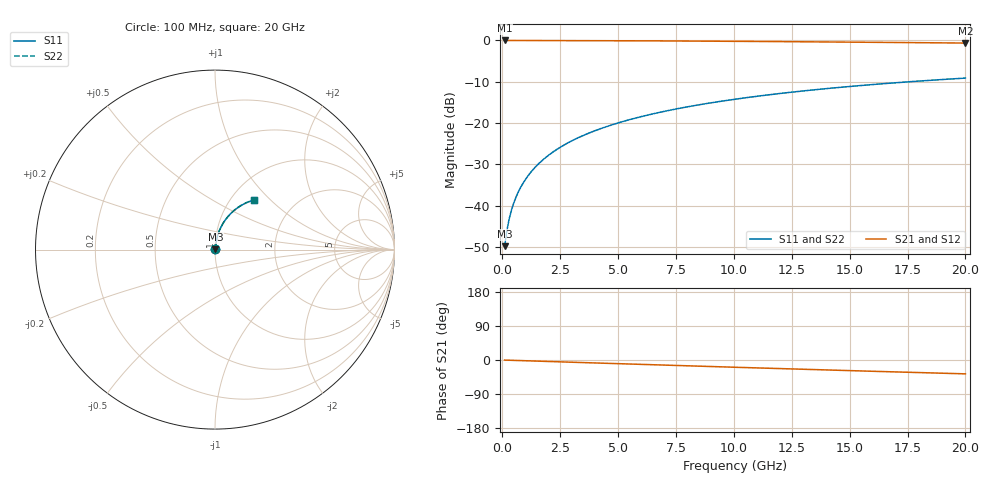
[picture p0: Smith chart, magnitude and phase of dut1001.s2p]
! Touchstone file exported from HFSS 2026.1.0
!  File:  C:/ffzhzh/LocalFiles/Ansys_Project_Files/temp_train_BSMRDL_1001_1783173089_55132.aedt
!  Generated:  09:52:42 PM Jul  4, 2026
!  Design:  BSMRDL
!  Project:  temp_train_BSMRDL_1001_1783173089_55132
! Variables:
!  h_bsmrdl = 3.44um
!  h_ox = 20um
!  h_rdl = 5um
!  h_sub = 80um
!  h_tmrdl = 5um
!  h_tsv = 80um
!  h_via = 3um
!  l_bsmrdl = 507.14um
!  l_sub = 907.14um
!  l_tmrdl = 200um
!  m_sub = 200um
!  pitch = 53.93um
!  r_tsv = 6um
!  s_tmrdl = 10um
!  w_bsmrdl = 24.31um
!  w_sub = 500um
!  w_tmrdl = 12um
!  x_tsv_center1 = 206um
!  x_tsv_center2 = 737.45um
!  x_tsv_center3 = 949.45um
!  x_tsv_center4 = 1480.9um
!  x_tsv_center5 = 1692.9um
!  x_tsv_center6 = 2224.35um
# GHz S MA R 50.000000
! Terminal data exported
! Port[1] = BSM_RDL1_1_T1
! Port[2] = BSM_RDL1_1_T2
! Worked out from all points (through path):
!   200 points, 100 MHz to 20 GHz, reference 50 ohm
!   highest |S21| = -0.02 dB at 100 MHz (marker M1); lowest = -0.7 dB at 20 GHz (marker M2)
!   group delay of S21, straight-line fit = 5.08 ps
!   lowest |S11| = -49.7 dB at 100 MHz (marker M3), VSWR 1.01, Z = 50.2 + j0.223 ohm
!   |S11| at or under -10 dB: start of sweep to 17.58 GHz
!   |S22| runs from -49.7 to -9.1 dB; largest |S21 - S12| = 2.1e-15
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0.1  0.003256 43.0  0.9976 -0.2  0.9976 -0.2  0.003256 43.0
! Gamma 0 0 0 0
! Port Impedance 50 0 50 0
0.2  0.005051 60.0  0.9975 -0.4  0.9975 -0.4  0.005051 60.0
0.3  0.006994 67.4  0.9974 -0.6  0.9974 -0.6  0.006994 67.4
0.4  0.008956 71.4  0.9972 -0.8  0.9972 -0.8  0.008956 71.4
0.5  0.01092 74.1  0.9971 -1.0  0.9971 -1.0  0.01092 74.1
0.6  0.01289 75.9  0.997 -1.2  0.997 -1.2  0.01289 75.9
0.8  0.01686 78.3  0.9969 -1.6  0.9969 -1.6  0.01686 78.3
1.1  0.02285 80.1  0.9967 -2.2  0.9967 -2.2  0.02285 80.1
1.5  0.03088 81.2  0.9964 -2.9  0.9964 -2.9  0.03088 81.2
1.8  0.03692 81.4  0.9961 -3.5  0.9961 -3.5  0.03692 81.4
2.1  0.04296 81.4  0.9958 -4.1  0.9958 -4.1  0.04296 81.4
2.7  0.055 81.1  0.995 -5.3  0.995 -5.3  0.05501 81.1
3.5  0.07097 80.1  0.9937 -6.8  0.9937 -6.8  0.07097 80.1
4.2  0.08482 79.1  0.9923 -8.2  0.9923 -8.2  0.08482 79.1
5  0.1005 77.8  0.9905 -9.7  0.9905 -9.7  0.1005 77.8
5.9  0.1179 76.2  0.9882 -11.4  0.9882 -11.4  0.1179 76.2
6.8  0.135 74.6  0.9856 -13.1  0.9856 -13.1  0.135 74.6
8.3  0.1629 72.0  0.9807 -15.9  0.9807 -15.9  0.1629 72.0
10.1  0.1953 68.8  0.9741 -19.2  0.9741 -19.2  0.1953 68.8
13.4  0.2516 63.0  0.9602 -25.2  0.9602 -25.2  0.2516 63.1
16.7  0.3032 57.4  0.9445 -31.0  0.9445 -31.0  0.3033 57.5
20  0.3501 52.0  0.9279 -36.6  0.9279 -36.6  0.3501 52.0
